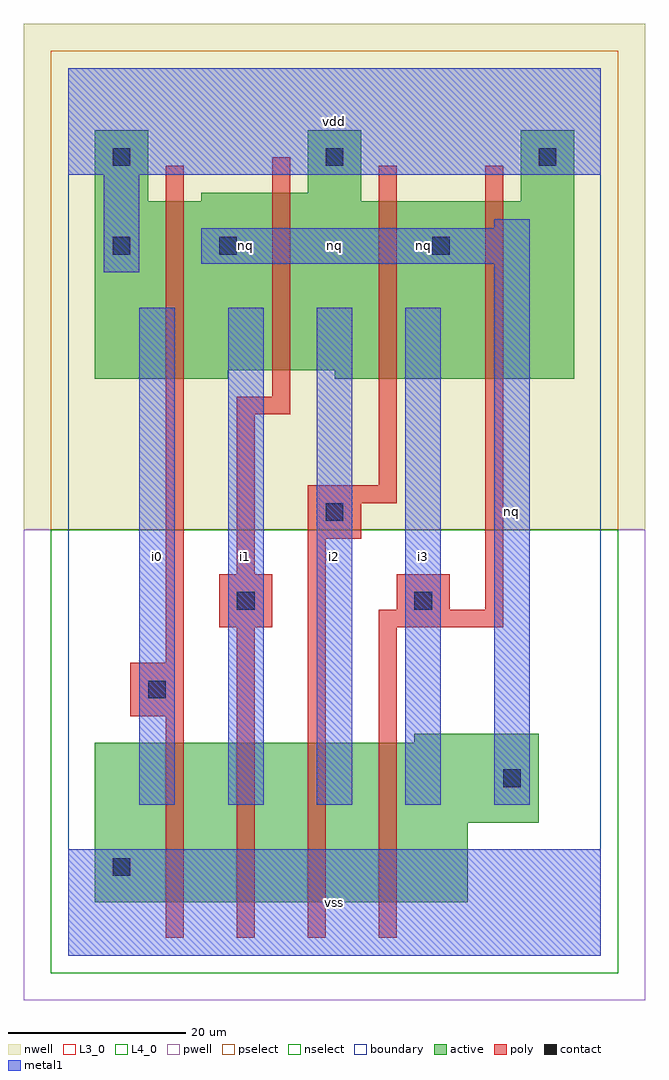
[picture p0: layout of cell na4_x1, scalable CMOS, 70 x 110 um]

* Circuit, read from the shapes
.subckt na4_x1 i0 i1 i2 i3 nq vdd vss
M1 n1 i0 vss VSUBS nfet w=18u l=2u
M2 n2 i1 n1 VSUBS nfet w=18u l=2u
M3 n3 i2 n2 VSUBS nfet w=18u l=2u
M4 nq i3 n3 VSUBS nfet w=18u l=2u
M5 nq i0 vdd n4 pfet w=20u l=2u
M6 vdd i1 nq n4 pfet w=20u l=2u
M7 nq i2 vdd n4 pfet w=20u l=2u
M8 vdd i3 nq n4 pfet w=20u l=2u
.ends

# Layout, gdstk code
import gdstk
lib = gdstk.Library(unit=1e-6, precision=1e-09)
def R(c, l, rs):  # rectangles x0, y0, x1, y1
    for r in rs: c.add(gdstk.rectangle(r[:2], r[2:], *l))
def A(c, l, x, y, w, h, nx, ny, dx, dy):  # array of equal rectangles
    R(c, l, [(x+i*dx, y+j*dy, x+i*dx+w, y+j*dy+h) for i in range(nx) for j in range(ny)])
L3_0 = (3, 0)
L4_0 = (4, 0)
contact = (25, 0)
pwell = (41, 0)
nwell = (42, 0)
active = (43, 0)
pselect = (44, 0)
nselect = (45, 0)
poly = (46, 0)
metal1 = (49, 0)
boundary = (63, 0)

na4_x1 = lib.new_cell('na4_x1')
R(na4_x1, L3_0, [(3,6,45,15), (3,15,53,24), (39,24,53,25)])
R(na4_x1, L4_0, [(3,65,18,66), (30,65,57,66), (3,66,57,85), (3,85,9,93), (15,85,33,86), (51,85,57,93), (27,86,33,93)])
A(na4_x1, contact, 5, 89, 2, 2, 3, 1, 24, 0)
R(na4_x1, contact, [(5,9,7,11), (49,19,51,21), (9,29,11,31), (19,39,21,41), (39,39,41,41), (29,49,31,51), (5,79,7,81), (17,79,19,81), (41,79,43,81)])
R(na4_x1, pwell, [(-5,-5,65,48)])
R(na4_x1, nwell, [(-5,48,65,105)])
R(na4_x1, active, [(3,6,45,15), (3,15,53,24), (39,24,53,25), (3,65,18,66), (30,65,57,66), (3,66,57,85), (3,85,9,93), (15,85,33,86), (51,85,57,93), (27,86,33,93)])
R(na4_x1, pselect, [(-2,48,62,102)])
R(na4_x1, nselect, [(-2,-2,62,48)])
R(na4_x1, poly, [(11,2,13,27), (19,2,21,37), (27,2,29,47), (35,2,37,37), (7,27,13,33), (11,33,13,89), (17,37,23,43), (35,37,49,39), (37,39,43,43), (47,39,49,89), (19,43,21,61), (27,47,33,51), (27,51,37,53), (35,53,37,89), (19,61,25,63), (23,63,25,90)])
A(na4_x1, metal1, 8, 17, 4, 56, 4, 1, 10, 0)
R(na4_x1, metal1, [(0,0,60,12), (48,17,52,78), (4,77,8,88), (15,78,52,82), (48,82,52,83), (0,88,60,100)])
R(na4_x1, boundary, [(0,0,60,100)])
na4_x1.add(gdstk.Label('i0', (10,45), layer=49, texttype=0))
na4_x1.add(gdstk.Label('i1', (20,45), layer=49, texttype=0))
na4_x1.add(gdstk.Label('nq', (20,80), layer=49, texttype=0))
na4_x1.add(gdstk.Label('vss', (30,6), layer=49, texttype=0))
na4_x1.add(gdstk.Label('i2', (30,45), layer=49, texttype=0))
na4_x1.add(gdstk.Label('i3', (40,45), layer=49, texttype=0))
na4_x1.add(gdstk.Label('nq', (30,80), layer=49, texttype=0))
na4_x1.add(gdstk.Label('vdd', (30,94), layer=49, texttype=0))
na4_x1.add(gdstk.Label('nq', (40,80), layer=49, texttype=0))
na4_x1.add(gdstk.Label('nq', (50,50), layer=49, texttype=0))

lib.write_gds('na4_x1.gds')
